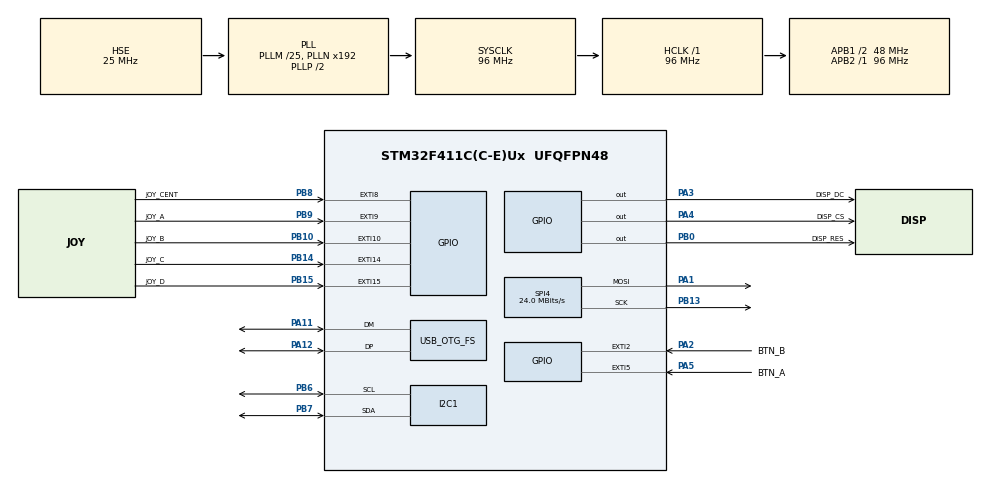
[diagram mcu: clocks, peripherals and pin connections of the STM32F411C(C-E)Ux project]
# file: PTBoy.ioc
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I2C1.GeneralCallMode=I2C_GENERALCALL_DISABLE
I2C1.OwnAddress=0x08
Mcu.Family=STM32F4
Mcu.Name=STM32F411C(C-E)Ux
Mcu.Package=UFQFPN48
NVIC.EXTI15_10_IRQn=true\:4\:0\:true\:false\:true\:true\:true\:true
NVIC.EXTI2_IRQn=true\:4\:0\:true\:false\:true\:true\:true\:true
NVIC.EXTI9_5_IRQn=true\:4\:0\:true\:false\:true\:true\:true\:true
NVIC.I2C1_ER_IRQn=true\:3\:0\:true\:false\:true\:true\:true\:true
NVIC.I2C1_EV_IRQn=true\:0\:0\:true\:false\:true\:true\:true\:true
NVIC.OTG_FS_IRQn=true\:1\:0\:true\:false\:true\:false\:true\:true
NVIC.PriorityGroup=NVIC_PRIORITYGROUP_4
NVIC.TIM4_IRQn=true\:2\:0\:true\:false\:true\:true\:true\:true
PA1.Mode=TX_Only_Simplex_Unidirect_Master
PA1.Signal=SPI4_MOSI
PA11.Mode=Device_Only
PA11.Signal=USB_OTG_FS_DM
PA12.Mode=Device_Only
PA12.Signal=USB_OTG_FS_DP
PA13.Mode=Serial_Wire
PA13.Signal=SYS_JTMS-SWDIO
PA14.Mode=Serial_Wire
PA14.Signal=SYS_JTCK-SWCLK
PA2.GPIO_Label=BTN_B
PA2.GPIO_ModeDefaultEXTI=GPIO_MODE_IT_FALLING
PA2.Signal=GPXTI2
PA3.GPIO_Label=DISP_DC
PA3.Signal=GPIO_Output
PA4.GPIO_Label=DISP_CS
PA4.Signal=GPIO_Output
PA5.GPIO_Label=BTN_A
PA5.GPIO_ModeDefaultEXTI=GPIO_MODE_IT_FALLING
PA5.Signal=GPXTI5
PB0.GPIO_Label=DISP_RES
PB0.Signal=GPIO_Output
PB10.GPIO_Label=JOY_B
PB10.GPIO_ModeDefaultEXTI=GPIO_MODE_IT_RISING
PB10.GPIO_PuPd=GPIO_PULLDOWN
PB10.Signal=GPXTI10
PB13.Mode=TX_Only_Simplex_Unidirect_Master
PB13.Signal=SPI4_SCK
PB14.GPIO_Label=JOY_C
PB14.GPIO_ModeDefaultEXTI=GPIO_MODE_IT_RISING
PB14.GPIO_PuPd=GPIO_PULLDOWN
PB14.Signal=GPXTI14
PB15.GPIO_Label=JOY_D
PB15.GPIO_ModeDefaultEXTI=GPIO_MODE_IT_RISING
PB15.GPIO_PuPd=GPIO_PULLDOWN
PB15.Signal=GPXTI15
PB6.GPIO_Pu=GPIO_PULLUP
PB6.Mode=I2C
PB6.Signal=I2C1_SCL
PB7.Mode=I2C
PB7.Signal=I2C1_SDA
PB8.GPIO_Label=JOY_CENT
PB8.GPIO_ModeDefaultEXTI=GPIO_MODE_IT_RISING
PB8.GPIO_PuPd=GPIO_PULLDOWN
PB8.Signal=GPXTI8
PB9.GPIO_Label=JOY_A
PB9.GPIO_ModeDefaultEXTI=GPIO_MODE_IT_RISING
PB9.GPIO_PuPd=GPIO_PULLDOWN
PB9.Signal=GPXTI9
PH0\ -\ OSC_IN.Mode=HSE-External-Oscillator
PH0\ -\ OSC_IN.Signal=RCC_OSC_IN
PH1\ -\ OSC_OUT.Mode=HSE-External-Oscillator
PH1\ -\ OSC_OUT.Signal=RCC_OSC_OUT
ProjectManager.HeapSize=0x400
ProjectManager.StackSize=0x800
ProjectManager.TargetToolchain=STM32CubeIDE
RCC.48MHZClocksFreq_Value=48000000
RCC.AHBFreq_Value=96000000
RCC.APB1CLKDivider=RCC_HCLK_DIV2
RCC.APB1Freq_Value=48000000
RCC.APB1TimFreq_Value=96000000
RCC.APB2Freq_Value=96000000
RCC.APB2TimFreq_Value=96000000
RCC.CortexFreq_Value=96000000
RCC.HCLKFreq_Value=96000000
RCC.HSE_VALUE=25000000
RCC.HSI_VALUE=16000000
RCC.LSE_VALUE=32768
RCC.PLLM=25
RCC.SYSCLKFreq_VALUE=96000000
RCC.SYSCLKSource=RCC_SYSCLKSOURCE_PLLCLK
RCC.VCOOutputFreq_Value=192000000
SPI4.BaudRatePrescaler=SPI_BAUDRATEPRESCALER_4
SPI4.CalculateBaudRate=24.0 MBits/s
SPI4.Direction=SPI_DIRECTION_2LINES
SPI4.Mode=SPI_MODE_MASTER
SPI4.VirtualType=VM_MASTER
TIM4.Period=1000-1
TIM4.Prescaler=96-1
USB_DEVICE.CLASS_NAME_FS=CDC
USB_DEVICE.VirtualMode=Cdc
USB_DEVICE.VirtualModeFS=Cdc_FS
USB_OTG_FS.VirtualMode=Device_Only
VP_TIM4_VS_ClockSourceINT.Mode=Internal
VP_USB_DEVICE_VS_USB_DEVICE_CDC_FS.Mode=CDC_FS
board=custom

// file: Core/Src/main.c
/* USER CODE BEGIN Header */
/**
  ******************************************************************************
  * @file           : main.c
  * @brief          : Main program body
  ******************************************************************************
  * @attention
  *
  * Copyright (c) 2023 STMicroelectronics.
  * All rights reserved.
  *
  * This software is licensed under terms that can be found in the LICENSE file
  * in the root directory of this software component.
  * If no LICENSE file comes with this software, it is provided AS-IS.
  *
  ******************************************************************************
  */
/* USER CODE END Header */
#include "main.h"
#include "usb_device.h"

/* USER CODE BEGIN Includes */
#include "ssd1306.h"
#include "snake.h"
#include "joystick_settings.h"
#include "pictures.h"
#include "processState.h"
#include "qr_pt.h"
#include "flashMem.h"
#include "editor.h"
#include <stdio.h>
#include <stdbool.h>
#include "button.h"
#include "usbd_cdc_if.h"
#include "i2c.h"
#include "createflags.h"
#include "bi_zone.h"
/* USER CODE END Includes */

/* USER CODE BEGIN PTD */
#define WAIT_BEFORE_SLIDESHOW		5000
#define WAIT_1_SECOND				1000

typedef enum{
	START_SCREEN,
	SNAKE,
	PICTURE_VIEW,
	EDITOR,
	EDITOR_MENU,
	HELP,
	BIZONE_PICTURE
} PtBoyState;

static PtBoyState ptBoyState;
static ProcessState processState = PROCESS_START;

uint8_t flag1[FLAG1_LENGTH];
uint8_t flag2[FLAG2_LENGTH];
uint8_t key[KEY_LENGTH];
volatile static uint8_t isFlag2Selection = 0;
static uint8_t flag2FromUsr[FLAG2_LENGTH];
/* USER CODE END PTD */

I2C_HandleTypeDef hi2c1;

SPI_HandleTypeDef hspi4;

TIM_HandleTypeDef htim4;

void SystemClock_Config(void);
static void MX_GPIO_Init(void);
static void MX_I2C1_Init(void);
static void MX_SPI4_Init(void);
static void MX_TIM4_Init(void);
/* USER CODE BEGIN PFP */
HAL_StatusTypeDef checkLockLevel(void);
/* USER CODE END PFP */

/* USER CODE BEGIN 0 */

static void ViewStartScreen(){
	ssd1306_Fill(Black);
	ssd1306_SetCursor(26, 4);
	ssd1306_WriteString("PLAY SNAKE TO", Font_6x8, White);
	ssd1306_SetCursor(8, 14);
	ssd1306_WriteString("UNLOCK NEW PICTURES", Font_6x8, White);
	ssd1306_SetCursor(4, 28);
	ssd1306_WriteString("Press A 1s > SNAKE", Font_6x8, White);
	ssd1306_SetCursor(4, 40);
	ssd1306_WriteString("Press B 1s > EDITOR", Font_6x8, White);
	ssd1306_SetCursor(4, 52);
	ssd1306_WriteString("Press A&B 1s > HELP", Font_6x8, White);
	ssd1306_UpdateScreen();
}

static void checkFlag2(){
	if(!isFlag2Selection)
		return;

	static uint8_t correctChar = 0;

	if(flag2[correctChar] == flag2FromUsr[correctChar]){
		correctChar++;
	}
	else{
		isFlag2Selection = 0;
		correctChar = 0;
		CDC_Transmit_FS((uint8_t*)"NOK", 3);
	}

	if(correctChar == FLAG2_LENGTH){
		isFlag2Selection = 0;
		correctChar = 0;
		taskSuccess(2);
		CDC_Transmit_FS((uint8_t*)"OK!", 3);
	}
}

static void FactoryTesting(PushedButton pushedButton){
	ssd1306_Fill(Black);
	char str[15];
	switch (pushedButton) {
	case JOY_CENT:
		sprintf(str, "BTN CENTER\r\n");
		break;
	case JOY_RIGHT:
		sprintf(str, "BTN RIGHT\r\n");
		break;
	case JOY_LEFT:
		sprintf(str, "BTN LEFT\r\n");
		break;
	case JOY_UP:
		sprintf(str, "BTN UP\r\n");
		break;
	case JOY_DOWN:
		sprintf(str, "BTN DOWN\r\n");
		break;
	case BUTTON_A:
		sprintf(str, "BTN A\r\n");
		break;
	case BUTTON_B:
		sprintf(str, "BTN B\r\n");
		break;
	case BUTTON_AB:
		sprintf(str, "BTN A&B\r\n");
		// start test flash for work
		writeLastScoresInMem(0);
		readLastScoresFromMem();
		HAL_Delay(100);
		// finish test flash
		break;
	default:
		return;
	}

	CDC_Transmit_FS((unsigned char*)str, strlen(str));

	ssd1306_SetCursor(0, 12);
	ssd1306_WriteString(str, Font_11x18, White);
	ssd1306_UpdateScreen();
}

static PushedButton ParseButtons() {
	bool notEditorNow = (ptBoyState != EDITOR && ptBoyState != EDITOR_MENU);
	bool notSnakeNow = (ptBoyState != SNAKE);
	if (buttonGetAction(JOY_RIGHT) != BUTTON_NONE) {
		return JOY_RIGHT;
	} else if (buttonGetAction(JOY_LEFT) != BUTTON_NONE) {
		return JOY_LEFT;
	} else if (buttonGetAction(JOY_UP) != BUTTON_NONE) {
		return JOY_UP;
	} else if (buttonGetAction(JOY_DOWN) != BUTTON_NONE) {
		return JOY_DOWN;
	} else if (buttonGetAction(JOY_CENT) != BUTTON_NONE) {
		return JOY_CENT;
	} else if (buttonGetAction(BUTTON_A) == BUTTON_SHORT_PRESS) {
		return BUTTON_A;
	} else if (buttonGetAction(BUTTON_A) == BUTTON_LONG_PRESS) {
		if (HAL_GPIO_ReadPin(BTN_B_GPIO_Port, BTN_B_Pin) == GPIO_PIN_RESET) {
			if (notEditorNow) {
				ptBoyState = HELP;
			}
			return BUTTON_AB;
		}
		if (notEditorNow && notSnakeNow) {
			processState = PROCESS_START;
			ptBoyState = SNAKE;
		}
		return BUTTON_A;
	} else if (buttonGetAction(BUTTON_B) == BUTTON_SHORT_PRESS) {
		return BUTTON_B;
	} else if (buttonGetAction(BUTTON_B) == BUTTON_LONG_PRESS) {
		if (HAL_GPIO_ReadPin(BTN_A_GPIO_Port, BTN_A_Pin) == GPIO_PIN_RESET) {
			if (notEditorNow) {
				ptBoyState = HELP;
			}
			return BUTTON_AB;
		}
		if (notEditorNow) {
			processState = PROCESS_START;
			ptBoyState = EDITOR;
		}
		return BUTTON_B;
	}

	return BUTTONS_NOT_PRESSED;
}
/* USER CODE END 0 */

int main(void)
{

  /* MCU Configuration--------------------------------------------------------*/

  /* Reset of all peripherals, Initializes the Flash interface and the Systick. */
  HAL_Init();

  /* Configure the system clock */
  SystemClock_Config();

  /* Initialize all configured peripherals */
  MX_GPIO_Init();
  MX_I2C1_Init();
  MX_SPI4_Init();
  MX_TIM4_Init();
  MX_USB_DEVICE_Init();
  /* USER CODE BEGIN 2 */

	uint32_t startScreenToSlideShowPause = 0;

	buttonInit();
	HAL_TIM_Base_Start_IT(&htim4);

	ssd1306_Init();

//#define CHECK_BTN_AND_DISPLAY
#define RELEASE_MAIN

#define SET_RDP_1
#if(defined SET_RDP_1 && defined RELEASE_MAIN)
	checkLockLevel();
#endif

#if defined(CHECK_BTN_AND_DISPLAY)

	ssd1306_Fill(White);
	HAL_Delay(300);
#endif

	picturesShowLogoAnimation();

	ptBoyState = START_SCREEN;
	startScreenToSlideShowPause = HAL_GetTick();

	HAL_I2C_EnableListen_IT(&hi2c1);
	generateFlags(flag1, key, flag2);

  /* USER CODE END 2 */

  /* Infinite loop */
  while (1)
  {

    /* USER CODE BEGIN 3 */
		checkFlag2();

		buttonProcess();
		PushedButton currentButton = ParseButtons();
		buttonResetActions();

		static uint8_t isBizoneShow = 0;
		i2cHandle(&isBizoneShow);
		if (isBizoneShow == 1 && (ptBoyState != BIZONE_PICTURE)) {
			ptBoyState = BIZONE_PICTURE;
			processState = PROCESS_START;
		}

#if defined(CHECK_BTN_AND_DISPLAY)

		FactoryTesting(currentButton);
#elif defined(RELEASE_MAIN)
		switch (ptBoyState) {
		case START_SCREEN:
			ViewStartScreen();
			if ((HAL_GetTick() - startScreenToSlideShowPause)
					> WAIT_BEFORE_SLIDESHOW) {
				startScreenToSlideShowPause = HAL_GetTick();
				processState = PROCESS_START;
				ptBoyState = PICTURE_VIEW;
			}
			break;

		case PICTURE_VIEW:
			if (processState == PROCESS_START) {
				picturesSetupSlideShow();
				processState = PROCESS_EXECUTE;
			} else if (processState == PROCESS_EXECUTE) {
				picturesExecute(currentButton);
			}
			break;

		case SNAKE:
			switch (processState) {
			case PROCESS_START:
				snakeSetup();
				processState = PROCESS_EXECUTE;
				break;
			case PROCESS_EXECUTE:
				snakeSetState(currentButton);
				processState = snakeExecute();
				break;
			case PROCESS_FINISHED:
				HAL_Delay(3000);
				ptBoyState = PICTURE_VIEW;
				processState = PROCESS_START;
				break;
			default:
				break;
			}
			break;

		case EDITOR:
			if (processState == PROCESS_START) {
				editorInit();
				processState = PROCESS_EXECUTE;
			} else if (editorExecute(currentButton) == PROCESS_FINISHED) {
				ptBoyState = EDITOR_MENU;
			}
			break;
		case EDITOR_MENU: {
			ProcessState editorMenuState = editorMenu(currentButton);
			if (editorMenuState == PROCESS_SWITCH_TO_PROCESS1) {
				ptBoyState = EDITOR;
			} else if (editorMenuState == PROCESS_FINISHED) {
				ptBoyState = PICTURE_VIEW;
				processState = PROCESS_START;
			}
			break;
		}
		case HELP:
			ssd1306_Fill(Black);
			ssd1306_SetPicture(qr_pt);
			HAL_Delay(5000);
			startScreenToSlideShowPause = HAL_GetTick();
			ptBoyState = START_SCREEN;
			buttonResetActions();
			break;
		case BIZONE_PICTURE:
			if (isBizoneShow == 0) {
				ptBoyState = START_SCREEN;
				break;
			}
			ssd1306_Fill(Black);
			ssd1306_SetPicture(bi_zon4ik);
			break;
		default:
			break;
		}
#else
#error "You should define CHECK_BTN_AND_DISPLAY or RELEASE macro!"
#endif
	}
  /* USER CODE END 3 */
}

void SystemClock_Config(void)
{
  RCC_OscInitTypeDef RCC_OscInitStruct = {0};
  RCC_ClkInitTypeDef RCC_ClkInitStruct = {0};

  /** Configure the main internal regulator output voltage
  */
  __HAL_RCC_PWR_CLK_ENABLE();
  __HAL_PWR_VOLTAGESCALING_CONFIG(PWR_REGULATOR_VOLTAGE_SCALE1);

  /** Initializes the RCC Oscillators according to the specified parameters
  * in the RCC_OscInitTypeDef structure.
  */
  RCC_OscInitStruct.OscillatorType = RCC_OSCILLATORTYPE_HSE;
  RCC_OscInitStruct.HSEState = RCC_HSE_ON;
  RCC_OscInitStruct.PLL.PLLState = RCC_PLL_ON;
  RCC_OscInitStruct.PLL.PLLSource = RCC_PLLSOURCE_HSE;
  RCC_OscInitStruct.PLL.PLLM = 25;
  RCC_OscInitStruct.PLL.PLLN = 192;
  RCC_OscInitStruct.PLL.PLLP = RCC_PLLP_DIV2;
  RCC_OscInitStruct.PLL.PLLQ = 4;
  if (HAL_RCC_OscConfig(&RCC_OscInitStruct) != HAL_OK)
  {
    Error_Handler();
  }

  /** Initializes the CPU, AHB and APB buses clocks
  */
  RCC_ClkInitStruct.ClockType = RCC_CLOCKTYPE_HCLK|RCC_CLOCKTYPE_SYSCLK
                              |RCC_CLOCKTYPE_PCLK1|RCC_CLOCKTYPE_PCLK2;
  RCC_ClkInitStruct.SYSCLKSource = RCC_SYSCLKSOURCE_PLLCLK;
  RCC_ClkInitStruct.AHBCLKDivider = RCC_SYSCLK_DIV1;
  RCC_ClkInitStruct.APB1CLKDivider = RCC_HCLK_DIV2;
  RCC_ClkInitStruct.APB2CLKDivider = RCC_HCLK_DIV1;

  if (HAL_RCC_ClockConfig(&RCC_ClkInitStruct, FLASH_LATENCY_3) != HAL_OK)
  {
    Error_Handler();
  }
}

static void MX_I2C1_Init(void)
{

  hi2c1.Instance = I2C1;
  hi2c1.Init.ClockSpeed = 100000;
  hi2c1.Init.DutyCycle = I2C_DUTYCYCLE_2;
  hi2c1.Init.OwnAddress1 = 16;
  hi2c1.Init.AddressingMode = I2C_ADDRESSINGMODE_7BIT;
  hi2c1.Init.DualAddressMode = I2C_DUALADDRESS_DISABLE;
  hi2c1.Init.OwnAddress2 = 0;
  hi2c1.Init.GeneralCallMode = I2C_GENERALCALL_DISABLE;
  hi2c1.Init.NoStretchMode = I2C_NOSTRETCH_DISABLE;
  if (HAL_I2C_Init(&hi2c1) != HAL_OK)
  {
    Error_Handler();
  }

}

static void MX_SPI4_Init(void)
{

  /* SPI4 parameter configuration*/
  hspi4.Instance = SPI4;
  hspi4.Init.Mode = SPI_MODE_MASTER;
  hspi4.Init.Direction = SPI_DIRECTION_2LINES;
  hspi4.Init.DataSize = SPI_DATASIZE_8BIT;
  hspi4.Init.CLKPolarity = SPI_POLARITY_LOW;
  hspi4.Init.CLKPhase = SPI_PHASE_1EDGE;
  hspi4.Init.NSS = SPI_NSS_SOFT;
  hspi4.Init.BaudRatePrescaler = SPI_BAUDRATEPRESCALER_4;
  hspi4.Init.FirstBit = SPI_FIRSTBIT_MSB;
  hspi4.Init.TIMode = SPI_TIMODE_DISABLE;
  hspi4.Init.CRCCalculation = SPI_CRCCALCULATION_DISABLE;
  hspi4.Init.CRCPolynomial = 10;
  if (HAL_SPI_Init(&hspi4) != HAL_OK)
  {
    Error_Handler();
  }

}

static void MX_TIM4_Init(void)
{

  TIM_ClockConfigTypeDef sClockSourceConfig = {0};
  TIM_MasterConfigTypeDef sMasterConfig = {0};

  htim4.Instance = TIM4;
  htim4.Init.Prescaler = 96-1;
  htim4.Init.CounterMode = TIM_COUNTERMODE_UP;
  htim4.Init.Period = 1000-1;
  htim4.Init.ClockDivision = TIM_CLOCKDIVISION_DIV1;
  htim4.Init.AutoReloadPreload = TIM_AUTORELOAD_PRELOAD_DISABLE;
  if (HAL_TIM_Base_Init(&htim4) != HAL_OK)
  {
    Error_Handler();
  }
  sClockSourceConfig.ClockSource = TIM_CLOCKSOURCE_INTERNAL;
  if (HAL_TIM_ConfigClockSource(&htim4, &sClockSourceConfig) != HAL_OK)
  {
    Error_Handler();
  }
  sMasterConfig.MasterOutputTrigger = TIM_TRGO_RESET;
  sMasterConfig.MasterSlaveMode = TIM_MASTERSLAVEMODE_DISABLE;
  if (HAL_TIMEx_MasterConfigSynchronization(&htim4, &sMasterConfig) != HAL_OK)
  {
    Error_Handler();
  }

}

static void MX_GPIO_Init(void)
{
  GPIO_InitTypeDef GPIO_InitStruct = {0};

  /* GPIO Ports Clock Enable */
  __HAL_RCC_GPIOH_CLK_ENABLE();
  __HAL_RCC_GPIOA_CLK_ENABLE();
  __HAL_RCC_GPIOB_CLK_ENABLE();

  /*Configure GPIO pin Output Level */
  HAL_GPIO_WritePin(GPIOA, DISP_DC_Pin|DISP_CS_Pin, GPIO_PIN_RESET);

  /*Configure GPIO pin Output Level */
  HAL_GPIO_WritePin(DISP_RES_GPIO_Port, DISP_RES_Pin, GPIO_PIN_RESET);

  /*Configure GPIO pins : BTN_B_Pin BTN_A_Pin */
  GPIO_InitStruct.Pin = BTN_B_Pin|BTN_A_Pin;
  GPIO_InitStruct.Mode = GPIO_MODE_IT_FALLING;
  GPIO_InitStruct.Pull = GPIO_NOPULL;
  HAL_GPIO_Init(GPIOA, &GPIO_InitStruct);

  /*Configure GPIO pins : DISP_DC_Pin DISP_CS_Pin */
  GPIO_InitStruct.Pin = DISP_DC_Pin|DISP_CS_Pin;
  GPIO_InitStruct.Mode = GPIO_MODE_OUTPUT_PP;
  GPIO_InitStruct.Pull = GPIO_NOPULL;
  GPIO_InitStruct.Speed = GPIO_SPEED_FREQ_LOW;
  HAL_GPIO_Init(GPIOA, &GPIO_InitStruct);

  /*Configure GPIO pin : DISP_RES_Pin */
  GPIO_InitStruct.Pin = DISP_RES_Pin;
  GPIO_InitStruct.Mode = GPIO_MODE_OUTPUT_PP;
  GPIO_InitStruct.Pull = GPIO_NOPULL;
  GPIO_InitStruct.Speed = GPIO_SPEED_FREQ_LOW;
  HAL_GPIO_Init(DISP_RES_GPIO_Port, &GPIO_InitStruct);

  /*Configure GPIO pins : JOY_B_Pin JOY_C_Pin JOY_D_Pin JOY_CENT_Pin
                           JOY_A_Pin */
  GPIO_InitStruct.Pin = JOY_B_Pin|JOY_C_Pin|JOY_D_Pin|JOY_CENT_Pin
                          |JOY_A_Pin;
  GPIO_InitStruct.Mode = GPIO_MODE_IT_RISING;
  GPIO_InitStruct.Pull = GPIO_PULLDOWN;
  HAL_GPIO_Init(GPIOB, &GPIO_InitStruct);

  /* EXTI interrupt init*/
  HAL_NVIC_SetPriority(EXTI2_IRQn, 4, 0);
  HAL_NVIC_EnableIRQ(EXTI2_IRQn);

  HAL_NVIC_SetPriority(EXTI9_5_IRQn, 4, 0);
  HAL_NVIC_EnableIRQ(EXTI9_5_IRQn);

  HAL_NVIC_SetPriority(EXTI15_10_IRQn, 4, 0);
  HAL_NVIC_EnableIRQ(EXTI15_10_IRQn);

}

/* USER CODE BEGIN 4 */
void HAL_TIM_PeriodElapsedCallback(TIM_HandleTypeDef *htim)
{
	if (htim->Instance == htim4.Instance) {
		buttonTimerProcess();
	}
}

HAL_StatusTypeDef checkLockLevel(void) {
	FLASH_OBProgramInitTypeDef ob;
	HAL_FLASHEx_OBGetConfig(&ob);
	if (ob.RDPLevel != OB_RDP_LEVEL_1) {
		HAL_FLASH_Unlock();
		HAL_FLASH_OB_Unlock();
		ob.OptionType = OPTIONBYTE_RDP;
		ob.RDPLevel = OB_RDP_LEVEL_1;

		if (HAL_FLASHEx_OBProgram(&ob) != HAL_OK) {
			HAL_FLASH_OB_Lock();
			HAL_FLASH_Lock();
			return HAL_ERROR;
		}

		HAL_FLASH_OB_Launch();

		/* We should not make it past the Launch, so lock
		 * flash memory and return an error from function
		 */
		HAL_FLASH_OB_Lock();
		HAL_FLASH_Lock();
		return HAL_ERROR;
	}
	return HAL_OK;
}

void USB_CDC_RxHandler(uint8_t *Buf, uint32_t Len) {
	if (strncmp((char*) Buf, "fish", 4) == 0) {
		uint8_t name[NAME_LENGTH];
		readLastNameFromMem(name);
		CDC_Transmit_FS(name, NAME_LENGTH);
	} else if (strncmp((char*) Buf, "hamster", 7) == 0) {
		const uint8_t msgLength = 8;
		uint8_t outBuff[msgLength];
		for (uint8_t i = 0; i < msgLength; i++) {
			uint8_t currentNumber = i ^ 0x31;
			currentNumber &= 7;
			outBuff[i] = key[16 + currentNumber] ^ 0x52 - 2;
		}
		CDC_Transmit_FS(outBuff, msgLength);
	}

//#define DBG_INFO
#ifdef DBG_INFO
	else if(strncmp((char*)Buf, "info",sizeof("info")) == 0){
		uint8_t usbBuf[KEY_LENGTH + FLAG1_LENGTH + FLAG2_LENGTH];
		memcpy(usbBuf, key, 32);
		memcpy(&usbBuf[32], flag1, 32);
		memcpy(&usbBuf[64], flag2, 32);
		CDC_Transmit_FS(usbBuf, 96);
	}
#endif

	else if (strncmp("turtle", (char*) Buf, 6) == 0) {
		isFlag2Selection = 1;
		memcpy(flag2FromUsr, &Buf[6], FLAG2_LENGTH);
	} else if (strncmp((char*) Buf, "lizard", 6) == 0) {
		if (memcmp(&Buf[6], flag1, FLAG1_LENGTH) == 0) {
			CDC_Transmit_FS((uint8_t*) "OK!", 3);
			taskSuccess(3);
		} else {
			CDC_Transmit_FS((uint8_t*) "NOK", 3);
		}
	}

	memset(Buf, 0x0, APP_RX_DATA_SIZE);
}
/* USER CODE END 4 */

void Error_Handler(void)
{
  __disable_irq();
  while (1)
  {
  }
}
